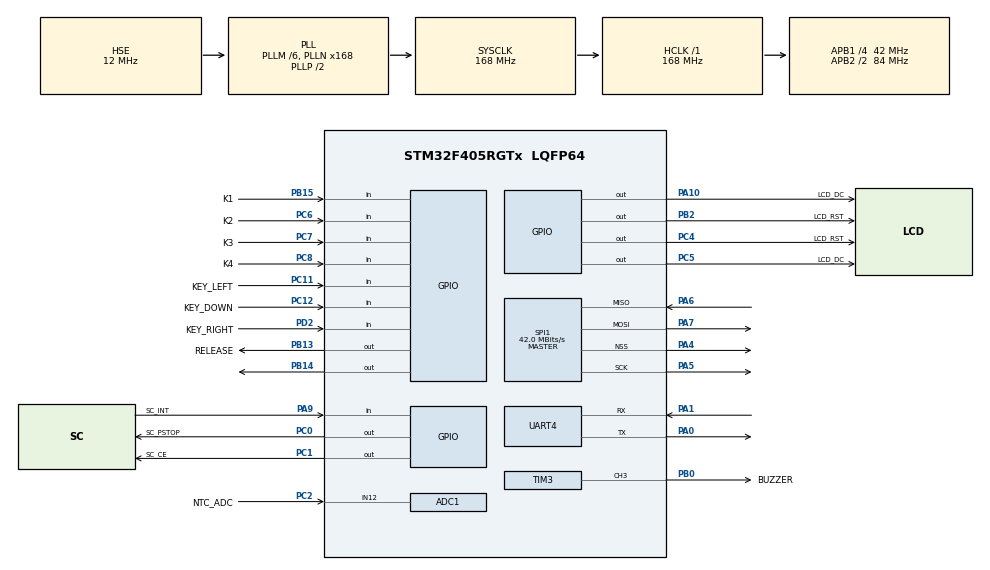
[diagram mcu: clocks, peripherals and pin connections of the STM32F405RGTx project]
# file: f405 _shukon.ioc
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ADC1.Channel-0\#ChannelRegularConversion=ADC_CHANNEL_12
ADC1.NbrOfConversionFlag=1
ADC1.Rank-0\#ChannelRegularConversion=1
ADC1.SamplingTime-0\#ChannelRegularConversion=ADC_SAMPLETIME_3CYCLES
ADC1.master=1
Dma.Request0=SPI1_TX
Dma.SPI1_TX.0.Direction=DMA_MEMORY_TO_PERIPH
Dma.SPI1_TX.0.FIFOMode=DMA_FIFOMODE_DISABLE
Dma.SPI1_TX.0.Instance=DMA2_Stream3
Dma.SPI1_TX.0.MemDataAlignment=DMA_MDATAALIGN_BYTE
Dma.SPI1_TX.0.MemInc=DMA_MINC_ENABLE
Dma.SPI1_TX.0.Mode=DMA_NORMAL
Dma.SPI1_TX.0.PeriphDataAlignment=DMA_PDATAALIGN_BYTE
Dma.SPI1_TX.0.PeriphInc=DMA_PINC_DISABLE
Dma.SPI1_TX.0.Priority=DMA_PRIORITY_HIGH
Mcu.Family=STM32F4
Mcu.Name=STM32F405RGTx
Mcu.Package=LQFP64
NVIC.DMA2_Stream3_IRQn=true\:0\:0\:false\:false\:true\:false\:true\:true
NVIC.PriorityGroup=NVIC_PRIORITYGROUP_4
NVIC.TIM1_TRG_COM_TIM11_IRQn=true\:0\:0\:false\:false\:true\:true\:true\:true
NVIC.TIM8_BRK_TIM12_IRQn=true\:0\:0\:false\:false\:true\:true\:true\:true
NVIC.UART4_IRQn=true\:0\:0\:false\:false\:true\:true\:true\:true
PA0-WKUP.Mode=Asynchronous
PA0-WKUP.Signal=UART4_TX
PA1.Mode=Asynchronous
PA1.Signal=UART4_RX
PA10.GPIO_Label=LCD_DC
PA10.GPIO_Speed=GPIO_SPEED_FREQ_VERY_HIGH
PA10.Signal=GPIO_Output
PA13.Mode=Serial_Wire
PA13.Signal=SYS_JTMS-SWDIO
PA14.Mode=Serial_Wire
PA14.Signal=SYS_JTCK-SWCLK
PA4.Mode=NSS_Signal_Hard_Output
PA4.Signal=SPI1_NSS
PA5.Mode=Full_Duplex_Master
PA5.Signal=SPI1_SCK
PA6.GPIO_Mode=GPIO_MODE_AF_PP
PA6.GPIO_PuPd=GPIO_NOPULL
PA6.GPIO_Speed=GPIO_SPEED_FREQ_VERY_HIGH
PA6.Mode=Full_Duplex_Master
PA6.Signal=SPI1_MISO
PA7.GPIO_Mode=GPIO_MODE_AF_PP
PA7.GPIO_PuPd=GPIO_NOPULL
PA7.GPIO_Speed=GPIO_SPEED_FREQ_VERY_HIGH
PA7.Mode=Full_Duplex_Master
PA7.Signal=SPI1_MOSI
PA9.GPIO_Label=SC_INT
PA9.Signal=GPIO_Input
PB0.GPIO_Label=BUZZER
PB0.GPIO_PuPd=GPIO_PULLUP
PB0.GPIO_Speed=GPIO_SPEED_FREQ_HIGH
PB0.Signal=S_TIM3_CH3
PB13.GPIO_Label=RELEASE
PB13.Signal=GPIO_Output
PB14.Signal=GPIO_Output
PB15.GPIO_Label=K1
PB15.GPIO_PuPd=GPIO_PULLUP
PB15.Signal=GPIO_Input
PB2.GPIO_Label=LCD_RST
PB2.GPIO_Speed=GPIO_SPEED_FREQ_VERY_HIGH
PB2.Signal=GPIO_Output
PC0.GPIO_Label=SC_PSTOP
PC0.Signal=GPIO_Output
PC1.GPIO_Label=SC_CE
PC1.Signal=GPIO_Output
PC11.GPIO_Label=KEY_LEFT
PC11.GPIO_PuPd=GPIO_PULLUP
PC11.Signal=GPIO_Input
PC12.GPIO_Label=KEY_DOWN
PC12.GPIO_PuPd=GPIO_PULLUP
PC12.Signal=GPIO_Input
PC2.GPIO_Label=NTC_ADC
PC2.Signal=ADCx_IN12
PC4.GPIO_Label=LCD_RST
PC4.Signal=GPIO_Output
PC5.GPIO_Label=LCD_DC
PC5.Signal=GPIO_Output
PC6.GPIO_Label=K2
PC6.GPIO_PuPd=GPIO_PULLUP
PC6.Signal=GPIO_Input
PC7.GPIO_Label=K3
PC7.GPIO_PuPd=GPIO_PULLUP
PC7.Signal=GPIO_Input
PC8.GPIO_Label=K4
PC8.GPIO_PuPd=GPIO_PULLUP
PC8.Signal=GPIO_Input
PD2.GPIO_Label=KEY_RIGHT
PD2.GPIO_PuPd=GPIO_PULLUP
PD2.Signal=GPIO_Input
PH0-OSC_IN.Mode=HSE-External-Oscillator
PH0-OSC_IN.Signal=RCC_OSC_IN
PH1-OSC_OUT.Mode=HSE-External-Oscillator
PH1-OSC_OUT.Signal=RCC_OSC_OUT
ProjectManager.HeapSize=0x1000
ProjectManager.StackSize=0x4000
ProjectManager.TargetToolchain=MDK-ARM V5.32
RCC.48MHZClocksFreq_Value=84000000
RCC.AHBFreq_Value=168000000
RCC.APB1CLKDivider=RCC_HCLK_DIV4
RCC.APB1Freq_Value=42000000
RCC.APB1TimFreq_Value=84000000
RCC.APB2CLKDivider=RCC_HCLK_DIV2
RCC.APB2Freq_Value=84000000
RCC.APB2TimFreq_Value=168000000
RCC.CortexFreq_Value=168000000
RCC.DATA_CACHE_ENABLE=1
RCC.HCLKFreq_Value=168000000
RCC.HSE_VALUE=12000000
RCC.HSI_VALUE=16000000
RCC.LSE_VALUE=32768
RCC.PLLM=6
RCC.PLLN=168
RCC.PLLSourceVirtual=RCC_PLLSOURCE_HSE
RCC.SYSCLKFreq_VALUE=168000000
RCC.SYSCLKSource=RCC_SYSCLKSOURCE_PLLCLK
RCC.VCOOutputFreq_Value=336000000
SH.ADCx_IN12.0=ADC1_IN12,IN12
SH.S_TIM3_CH3.0=TIM3_CH3,PWM Generation3 CH3
SPI1.BaudRatePrescaler=SPI_BAUDRATEPRESCALER_2
SPI1.CLKPhase=SPI_PHASE_2EDGE
SPI1.CLKPolarity=SPI_POLARITY_HIGH
SPI1.CalculateBaudRate=42.0 MBits/s
SPI1.Direction=SPI_DIRECTION_2LINES
SPI1.Mode=SPI_MODE_MASTER
SPI1.VirtualNSS=VM_NSSHARD
SPI1.VirtualType=VM_MASTER
TIM11.Period=1000-1
TIM12.Period=1000-1
TIM12.Prescaler=84-1
TIM3.Channel-PWM\ Generation3\ CH3=TIM_CHANNEL_3
UART4.VirtualMode=Asynchronous
VP_TIM11_VS_ClockSourceINT.Mode=Enable_Timer
VP_TIM12_VS_ClockSourceINT.Mode=Internal
VP_TIM3_VS_ClockSourceINT.Mode=Internal
board=custom

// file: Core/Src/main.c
/* USER CODE BEGIN Header */
/**
  ******************************************************************************
  * @file           : main.c
  * @brief          : Main program body
  ******************************************************************************
  * @attention
  *
  * Copyright (c) 2025 STMicroelectronics.
  * All rights reserved.
  *
  * This software is licensed under terms that can be found in the LICENSE file
  * in the root directory of this software component.
  * If no LICENSE file comes with this software, it is provided AS-IS.
  *
  ******************************************************************************
  */
/* USER CODE END Header */
#include "main.h"
#include "adc.h"
#include "dma.h"
#include "spi.h"
#include "tim.h"
#include "usart.h"
#include "gpio.h"

/* USER CODE BEGIN Includes */
#include "LCD.h"
#include "GUI.h"
#include "lvgl.h"
#include "lv_port_disp.h"
#include "lv_port_indev.h"
#include "ui.h"
#include "lv_demo_widgets.h"
#include "INA226_Driver.h"
#include "ntc_temp.h"
#include "soft_i2c.h"
#include "AT24C16.h"

#include "PID.h"
#include "SC8815.h"
#include "string.h"
#include "stdio.h"
#include "math.h"
/* USER CODE END Includes */

/* USER CODE BEGIN PTD */
extern uint8_t tim_num;
extern uint8_t PID_tim;
extern uint16_t Update_lcd_tim;

char msg[25];  // uart信息
extern uint8_t rx_one;
extern uint8_t Rx_state ;
extern uint8_t RxIndex ;
extern uint8_t RxBuffer[14];

float InputVoltage = 0;
float OutputPower   = 0;
float tempture = 0.0f; // 温度变量
float vin_volts; //输入电压

INA226_HandleTypeDef INA_outData;
PID_Type Voltage_PID;
PID_Type Current_PID;
PSU_Status_Type PSU;
uint8_t check_res = 0;

uint32_t lcd_refresh_time = 0;
uint32_t adc_get_time = 0;
uint32_t print_time = 0;

// 1. 定义 INA226 总线 (PB6, PB7)
SoftI2C_Bus Bus_INA = {GPIOB, GPIO_PIN_10, GPIOB, GPIO_PIN_11};

// 2. 定义 SC8815 总线 (PA8-SCL, PC9-SDA)
SoftI2C_Bus Bus_SC  = {GPIOA, GPIO_PIN_8, GPIOC, GPIO_PIN_9};

// 3. 定义 AT24C16 总线 (PA11-SCL, PA12-SDA)
SoftI2C_Bus Bus_AT  = {GPIOA, GPIO_PIN_11, GPIOA, GPIO_PIN_12};
/* USER CODE END PTD */

void SystemClock_Config(void);
/* USER CODE BEGIN PFP */
void On_Screen_Loaded(lv_event_t * e) {
    Update_All_Power_UI();
}
/* USER CODE END PFP */

/* USER CODE BEGIN 0 */
volatile uint32_t debug_counter = 0;
volatile uint8_t debug_btn_state = 1;

/* USER CODE END 0 */

int main(void)
{

  /* MCU Configuration--------------------------------------------------------*/

  /* Reset of all peripherals, Initializes the Flash interface and the Systick. */
  HAL_Init();

  /* Configure the system clock */
  SystemClock_Config();

  /* Initialize all configured peripherals */
  MX_GPIO_Init();
  MX_DMA_Init();
  MX_TIM12_Init();
  MX_ADC1_Init();
  MX_SPI1_Init();
  MX_TIM3_Init();
  MX_UART4_Init();
  MX_TIM11_Init();
  /* USER CODE BEGIN 2 */
//	__HAL_FLASH_INSTRUCTION_CACHE_ENABLE();

//// 2. �������ݻ��� (D-Cache, ��� Flash)
//	__HAL_FLASH_DATA_CACHE_ENABLE();

//// 3. ����Ԥȡָ�� (Prefetch)
//	__HAL_FLASH_PREFETCH_BUFFER_ENABLE();
  HAL_TIM_Base_Start_IT(&htim12);
	lv_init();
//	LCD_Init();
	// 初始化lvgl显示设备
	lv_port_disp_init();

	lv_port_indev_init();

	ui_init();

	My_Waveform_Init();
	lv_obj_set_style_size(ui_Chart1, 0, LV_PART_INDICATOR);

	float max_current_OUT = 12.0f;

  lv_obj_add_event_cb(ui_PowerOpen, Switch_State_Changed, LV_EVENT_VALUE_CHANGED, NULL);
  lv_obj_add_event_cb(ui_Screen1, On_Screen_Loaded, LV_EVENT_SCREEN_LOADED, NULL);

	// 注册电压变化事件
	lv_obj_add_event_cb(ui_SpinboxVolt, On_SpinboxVolt_Changed, LV_EVENT_VALUE_CHANGED, NULL);

	// 注册电流变化事件
	lv_obj_add_event_cb(ui_SpinboxCurr, On_SpinboxCurr_Changed, LV_EVENT_VALUE_CHANGED, NULL);

  lv_obj_add_event_cb(ui_PowerOpen2, Switch2_State_Changed, LV_EVENT_VALUE_CHANGED, NULL);
  lv_obj_add_event_cb(ui_Screen2, On_Screen_Loaded, LV_EVENT_SCREEN_LOADED, NULL);

 // 给 Screen1 的控件注册回调
  lv_obj_add_event_cb(ui_SpinboxVolt, On_Spinbox_Changed, LV_EVENT_VALUE_CHANGED, NULL);
  lv_obj_add_event_cb(ui_SpinboxCurr, On_Spinbox_Changed, LV_EVENT_VALUE_CHANGED, NULL);

    // 给 Screen2 的控件注册回调
  lv_obj_add_event_cb(ui_SpinboxVolt2, On_Spinbox_Changed, LV_EVENT_VALUE_CHANGED, NULL);
  lv_obj_add_event_cb(ui_SpinboxCurr2, On_Spinbox_Changed, LV_EVENT_VALUE_CHANGED, NULL);

  Update_All_Power_UI();

	PID_Init();

  Software_I2C_Init(&Bus_INA);
  Software_I2C_Init(&Bus_SC);
	AT24C16_Init(&Bus_AT);

	SC8815_Init_Check();
	SC8815_Start_OTG_Mode();

	INA226_Init(&INA_outData, INA_ADDR, max_current_OUT, shunt_res_initial);

	// 从 AT24C16 读取保存的电压电流配置
	uint8_t magic = 0;
	AT24C16_ReadByte(&Bus_AT, EE_ADDR_MAGIC, &magic);
	if (magic == EE_MAGIC_VALUE)
	{
		uint8_t buf[4];
		AT24C16_Read(&Bus_AT, EE_ADDR_SET_VOLTS, buf, 4);
		memcpy(&PSU.Set_Volts, buf, 4);
		AT24C16_Read(&Bus_AT, EE_ADDR_SET_AMPS, buf, 4);
		memcpy(&PSU.Set_Amps, buf, 4);
	}
	else
	{
		PSU.Set_Volts = 0.5f;
		PSU.Set_Amps  = 1.0f;
	}
  PSU_Set_Output_State(0);

	lv_spinbox_set_value(ui_SpinboxVolt, (int32_t)(PSU.Set_Volts * 100));
  lv_spinbox_set_value(ui_SpinboxCurr, (int32_t)(PSU.Set_Amps * 100));
	Sync_Struct_To_UI();

	HAL_TIM_Base_Start_IT(&htim11);
	HAL_UART_Receive_IT(&huart4,&rx_one,1);
	BUZZER_Init();
  /* USER CODE END 2 */

  /* Infinite loop */
  /* USER CODE BEGIN WHILE */
  while (1)
  {

		if(tim_num >= 5)
		{
			lv_timer_handler();
			tim_num = 0;

		}
		if(PID_tim >= 5)
		{
			PSU.Real_Volts = INA226_ReadBusVoltage(&INA_outData);                  // 获取当前输出电压
      PSU.Real_Curr = fabs(INA226_ReadCurrent(&INA_outData));              // 获取当前输出电流
      // current_OutputPower = INA226_ReadPower(&OutputData);
      OutputPower = PSU.Real_Volts * PSU.Real_Curr;                          // 获取当前输出功率

			uint16_t stepVoltage = SC8815_GetOutputVoltageSetp();
			uint16_t outVoltage = SC8815_GetOutputVoltage();

			if(PSU.Set_Volts < 2.8)
			{
				HAL_GPIO_WritePin(GPIOB,GPIO_PIN_13,GPIO_PIN_SET);
			}
			else
			{
				HAL_GPIO_WritePin(GPIOB,GPIO_PIN_13,GPIO_PIN_RESET);
			}

//			SC8815_GetOutputVoltageSetp();
			PSU_Control_Loop();
//		  char buffer[128];
//          sprintf(buffer,
//			  " stepVoltage: %d mV\r\n"
//        " OUTbus: %.3f V\r\n"
//        " outVoltage: %d mV\r\n"
//        " Powr: %.3f W\r\n"
//         ,stepVoltage,OutputVoltage, outVoltage, OutputPower);

//			HAL_UART_Transmit(&huart4, (uint8_t*)buffer, strlen(buffer), 100);
			PID_tim = 0;

		}

		if(HAL_GetTick() - lcd_refresh_time > 200)
		{
			lcd_refresh_time = HAL_GetTick();
			uint16_t vin_mv = SC8815_Read_BATT_Voltage();

			vin_volts = (float)vin_mv / 1000.0f;
			Update_Main_Screen_Sensors(PSU.Real_Volts,PSU.Real_Curr,OutputPower,vin_volts);

			if(lv_scr_act() == ui_Screen1)
			{
        lv_label_set_text_fmt(ui_VoltVal, "%.2fV", PSU.Real_Volts);
        lv_label_set_text_fmt(ui_CurrVal, "%.2fA", PSU.Real_Curr);

			}

    // 如果你在 Screen2 (曲线图界面)
			else if(lv_scr_act() == ui_Screen2)
			{
				lv_label_set_text_fmt(ui_VoltVal, "%.2fV", PSU.Real_Volts);
        lv_label_set_text_fmt(ui_CurrVal, "%.2fA", PSU.Real_Curr);

			}

		}
		// 在 SC8815_SetOutputVoltage 之后加入打印

		if(HAL_GetTick() - print_time > 500) // 每 0.5秒打印一次
		{
				print_time = HAL_GetTick();
				char buffer[128];
				sprintf(buffer,"Set:%.2f Real:%.2f | C_PID_Out:%.2f \r\n",
           PSU.Set_Amps,
           PSU.Real_Curr,
           Current_PID.Output);
			HAL_UART_Transmit(&huart4, (uint8_t*)buffer, strlen(buffer), 100);
		}
		if(HAL_GetTick() - adc_get_time > 500)
		{
			adc_get_time = HAL_GetTick();
			tempture = NTC_Read_Temperature(&hadc1);

			Update_Temp_UI(tempture);

		}

		//蜂鸣器任务处理函数
		BUZZER_Task_Handler();

//
    /* USER CODE END WHILE */

  }
}

void SystemClock_Config(void)
{
  RCC_OscInitTypeDef RCC_OscInitStruct = {0};
  RCC_ClkInitTypeDef RCC_ClkInitStruct = {0};

  /** Configure the main internal regulator output voltage
  */
  __HAL_RCC_PWR_CLK_ENABLE();
  __HAL_PWR_VOLTAGESCALING_CONFIG(PWR_REGULATOR_VOLTAGE_SCALE1);

  /** Initializes the RCC Oscillators according to the specified parameters
  * in the RCC_OscInitTypeDef structure.
  */
  RCC_OscInitStruct.OscillatorType = RCC_OSCILLATORTYPE_HSE;
  RCC_OscInitStruct.HSEState = RCC_HSE_ON;
  RCC_OscInitStruct.PLL.PLLState = RCC_PLL_ON;
  RCC_OscInitStruct.PLL.PLLSource = RCC_PLLSOURCE_HSE;
  RCC_OscInitStruct.PLL.PLLM = 6;
  RCC_OscInitStruct.PLL.PLLN = 168;
  RCC_OscInitStruct.PLL.PLLP = RCC_PLLP_DIV2;
  RCC_OscInitStruct.PLL.PLLQ = 4;
  if (HAL_RCC_OscConfig(&RCC_OscInitStruct) != HAL_OK)
  {
    Error_Handler();
  }

  /** Initializes the CPU, AHB and APB buses clocks
  */
  RCC_ClkInitStruct.ClockType = RCC_CLOCKTYPE_HCLK|RCC_CLOCKTYPE_SYSCLK
                              |RCC_CLOCKTYPE_PCLK1|RCC_CLOCKTYPE_PCLK2;
  RCC_ClkInitStruct.SYSCLKSource = RCC_SYSCLKSOURCE_PLLCLK;
  RCC_ClkInitStruct.AHBCLKDivider = RCC_SYSCLK_DIV1;
  RCC_ClkInitStruct.APB1CLKDivider = RCC_HCLK_DIV4;
  RCC_ClkInitStruct.APB2CLKDivider = RCC_HCLK_DIV2;

  if (HAL_RCC_ClockConfig(&RCC_ClkInitStruct, FLASH_LATENCY_5) != HAL_OK)
  {
    Error_Handler();
  }
}

void Error_Handler(void)
{
  __disable_irq();
  while (1)
  {
  }
}
